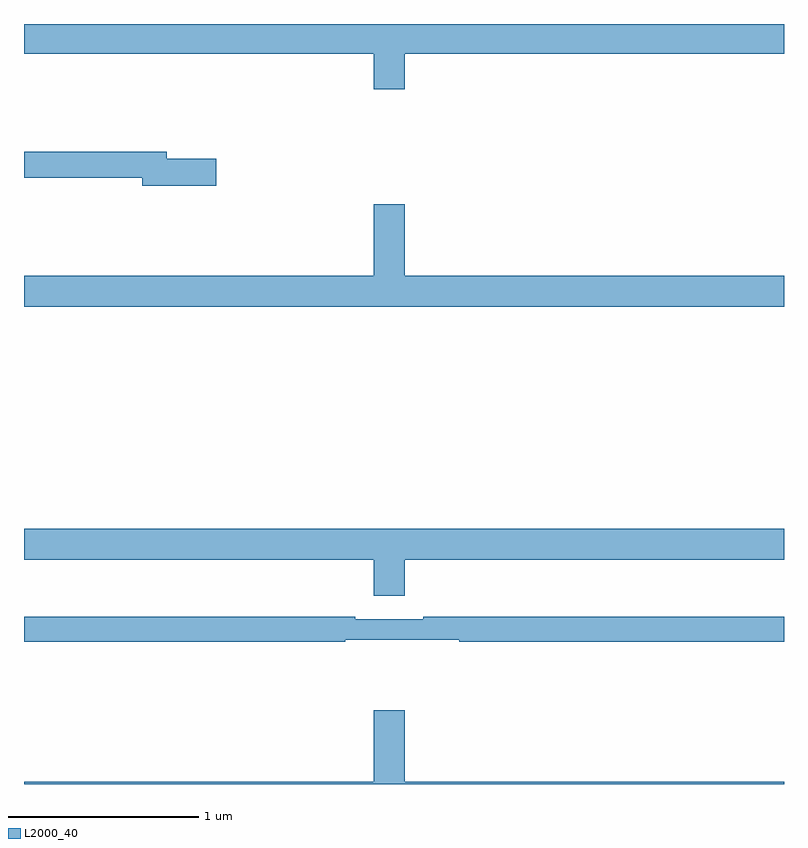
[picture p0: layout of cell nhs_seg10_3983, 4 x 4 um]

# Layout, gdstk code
import gdstk
lib = gdstk.Library(unit=1e-6, precision=1e-09)
def P(c, l, *ps):  # polygons
    for p in ps: c.add(gdstk.Polygon(p, *l))
L2000_40 = (2000, 40)

nhs_seg10_3983 = lib.new_cell('nhs_seg10_3983')
P(nhs_seg10_3983, L2000_40, [(333.004,1272.344),(335,1272.344),(335,1272.5),(331,1272.5),(331,1272.344),(332.84,1272.344),(332.84,1272.156),(333.004,1272.156)],
  [(332.011,1271.792),(331.75,1271.792),(331.75,1271.828),(331,1271.828),(331,1271.692),(331.622,1271.692),(331.622,1271.65),(332.011,1271.65)],
  [(335,1271.176),(333.004,1271.176),(333.004,1271.551),(332.84,1271.551),(332.84,1271.176),(331,1271.176),(331,1271.012),(335,1271.012)],
  [(333.004,1269.68),(335,1269.68),(335,1269.844),(331,1269.844),(331,1269.68),(332.84,1269.68),(332.84,1269.492),(333.004,1269.492)],
  [(332.69,1269.258),(333.29,1269.258),(333.29,1269.25),(335,1269.25),(335,1269.379),(333.1,1269.379),(333.1,1269.366),(332.744,1269.366),(332.744,1269.379),(331,1269.379),(331,1269.25),(332.69,1269.25)],
  [(335,1268.512),(333.004,1268.512),(333.004,1268.887),(332.84,1268.887),(332.84,1268.512),(331,1268.512),(331,1268.5),(335,1268.5)])

lib.write_gds('nhs_seg10_3983.gds')
